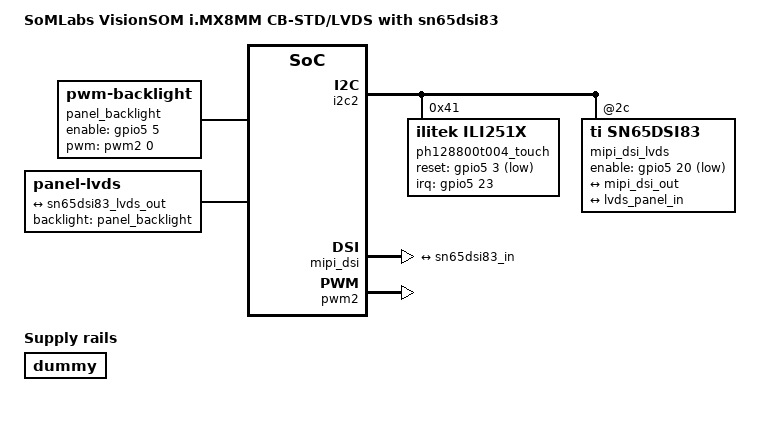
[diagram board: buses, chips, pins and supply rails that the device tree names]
// SPDX-License-Identifier: GPL-2.0-or-later
/*
 * Copyright 2020 SomLabs
 *
 */

/dts-v1/;

#include "visionsom-8mm-cb-std.dtsi"

/ {
        /* dummy regulator for simple-panel driver */
    dummy: regulator-dummy {
        compatible = "regulator-fixed";
        regulator-name = "dummy";
        regulator-always-on;
    };

};

&i2c2 {

    ph128800t004_touch: ilitek-ili251x@41 {
        compatible = "ilitek,ili251x";
        reg = <0x41>;
        pinctrl-names = "default";
        pinctrl-0 = <&pinctrl_touch>;
        interrupt-parent = <&gpio5>;
        interrupts = <23 IRQ_TYPE_EDGE_FALLING>;
        reset-gpios = <&gpio5 3 GPIO_ACTIVE_LOW>;
        touchscreen-size-x = <16384>;
        touchscreen-size-y = <9600>;
    };

    /* MIPI-DSI to LVDS adapter */
    mipi_dsi_lvds: sn65dsi83@2c {
        compatible = "ti,sn65dsi83";
        pinctrl-names = "default";
        pinctrl-0 = <&pinctrl_mipi2lvds_std>;


        enable-gpios = <&gpio5 22 GPIO_ACTIVE_HIGH>;
        	compatible = "ti,sn65dsi83";

		ti,dsi-lanes = <4>;
		ti,lvds-format = <2>;
		ti,lvds-bpp = <24>;
		ti,width-mm = <217>;
		ti,height-mm = <136>;
		enable-gpios = <&gpio5 20 GPIO_ACTIVE_LOW>;
		pinctrl-names = "default";
		pinctrl-0 = <&pinctrl_lvds>;
		status = "okay";

		display-timings {
			lvds {
				clock-frequency = <75000000>;
				hactive = <1280>;
				vactive = <800>;
				hback-porch = <40>;
				hfront-porch = <40>;
				vback-porch = <29>;
				vfront-porch = <13>;
				hsync-len = <48>;
				vsync-len = <3>;
				hsync-active = <0>;
				vsync-active = <0>;
				de-active = <0>;
				pixelclk-active = <0>;
			};
           

		};
        
        
        status = "okay";
        ports {
            #address-cells = <1>;
            #size-cells = <0>;
            port@0 {
                reg = <0>;
                data-lanes = <4>;
                sn65dsi83_in: endpoint {
                    remote-endpoint = <&mipi_dsi_out>;
                };
            };
            port@2 {
               reg = <2>;
               data-lanes = <4>; 
                sn65dsi83_lvds_out: endpoint {
                    remote-endpoint = <&lvds_panel_in>;
                };
            };
        };
    };



};

&mipi_dsi {
    status = "okay";

    port@1 {
        mipi_dsi_out: endpoint {
            remote-endpoint = <&sn65dsi83_in>;
            attach-bridge;
        };
    };


};


/ {

    panel_backlight: panel-backlight {
        compatible = "pwm-backlight";
        pinctrl-names = "default";
        pinctrl-0 = <&pinctrl_panel_backlight_en>;
        pwms = <&pwm2 0 25000 0>;

        brightness-levels = < 0  1  2  3  4  5  6  7  8  9
                             10 11 12 13 14 15 16 17 18 19
                             20 21 22 23 24 25 26 27 28 29
                             30 31 32 33 34 35 36 37 38 39
                             40 41 42 43 44 45 46 47 48 49
                             50 51 52 53 54 55 56 57 58 59
                             60 61 62 63 64 65 66 67 68 69
                             70 71 72 73 74 75 76 77 78 79
                             80 81 82 83 84 85 86 87 88 89
                             90 91 92 93 94 95 96 97 98 99
                             100>;
        default-brightness-level = <80>;

        enable-gpios = <&gpio5 5 0>;
    };

};

&iomuxc {

    pinctrl_panel_reset_std: panel_reset {
        fsl,pins = <
            MX8MM_IOMUXC_SAI3_RXFS_GPIO4_IO28       0x19
        >;
    };

    pinctrl_panel_backlight_en: panel_backlight_en {
        fsl,pins = <
            MX8MM_IOMUXC_SPDIF_EXT_CLK_GPIO5_IO5            0x19
        >;
    };

    pinctrl_panel_backlight_pwm: panel_backlight_pwm {
        fsl,pins = <
            MX8MM_IOMUXC_SPDIF_RX_PWM2_OUT                  0x19
        >;
    };

    pinctrl_touch: touchgpio {
        fsl,pins = <
            MX8MM_IOMUXC_UART1_TXD_GPIO5_IO23               0x41    /* interrupt */
            MX8MM_IOMUXC_SPDIF_TX_GPIO5_IO3                 0x19    /* reset */
        >;
    };

    pinctrl_mipi2lvds_std: mipi2lvds {
        fsl,pins = <
            MX8MM_IOMUXC_UART1_RXD_GPIO5_IO22       0x19        /* reset */
        >;
    };

};

&pwm2 {
    pinctrl-names = "default";
    pinctrl-0 = <&pinctrl_panel_backlight_pwm>;
    status = "okay";
};


/ {
    panel: panel {
		compatible = "panel-lvds";
        backlight = <&panel_backlight>;
		height-mm = <136>;
		width-mm = <217>;

		data-mapping = "vesa-24";

		panel-timing {
			clock-frequency = <75000000>;
			hactive = <1280>;
			vactive = <800>;
			hback-porch = <40>;
			hfront-porch = <40>;
			hsync-len = <48>;
			vback-porch = <29>;
			vfront-porch = <13>;
			vsync-len = <3>;
		};

        port {
            lvds_panel_in: endpoint {
                remote-endpoint = <&sn65dsi83_lvds_out>;
            };
        };
    };
};



/ {
    model = "SoMLabs VisionSOM i.MX8MM CB-STD/LVDS with sn65dsi83";
};


